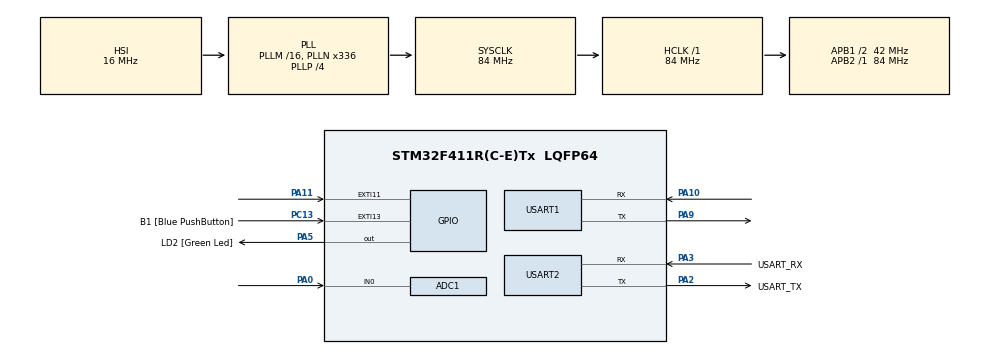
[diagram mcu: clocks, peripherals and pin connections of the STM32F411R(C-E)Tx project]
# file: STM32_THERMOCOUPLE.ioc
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ADC1.Channel-3\#ChannelRegularConversion=ADC_CHANNEL_0
ADC1.NbrOfConversionFlag=1
ADC1.Rank-3\#ChannelRegularConversion=1
ADC1.Resolution=ADC_RESOLUTION_12B
ADC1.SamplingTime-3\#ChannelRegularConversion=ADC_SAMPLETIME_3CYCLES
ADC1.master=1
Mcu.Family=STM32F4
Mcu.Name=STM32F411R(C-E)Tx
Mcu.Package=LQFP64
NVIC.EXTI15_10_IRQn=true\:0\:0\:false\:false\:true\:true\:true\:true
NVIC.PriorityGroup=NVIC_PRIORITYGROUP_0
PA0-WKUP.Signal=ADCx_IN0
PA10.Mode=Asynchronous
PA10.Signal=USART1_RX
PA11.GPIO_ModeDefaultEXTI=GPIO_MODE_IT_RISING
PA11.GPIO_PuPd=GPIO_PULLDOWN
PA11.Signal=GPXTI11
PA13.GPIO_Label=TMS
PA13.Mode=Serial_Wire
PA13.Signal=SYS_JTMS-SWDIO
PA14.GPIO_Label=TCK
PA14.Mode=Serial_Wire
PA14.Signal=SYS_JTCK-SWCLK
PA2.GPIO_Label=USART_TX
PA2.Mode=Asynchronous
PA2.Signal=USART2_TX
PA3.GPIO_Label=USART_RX
PA3.Mode=Asynchronous
PA3.Signal=USART2_RX
PA5.GPIO_Label=LD2 [Green Led]
PA5.Signal=GPIO_Output
PA9.Mode=Asynchronous
PA9.Signal=USART1_TX
PB3.GPIO_Label=SWO
PB3.Signal=SYS_JTDO-SWO
PC13-ANTI_TAMP.GPIO_Label=B1 [Blue PushButton]
PC13-ANTI_TAMP.GPIO_ModeDefaultEXTI=GPIO_MODE_IT_FALLING
PC13-ANTI_TAMP.Signal=GPXTI13
PC14-OSC32_IN.Mode=LSE-External-Oscillator
PC14-OSC32_IN.Signal=RCC_OSC32_IN
PC15-OSC32_OUT.Mode=LSE-External-Oscillator
PC15-OSC32_OUT.Signal=RCC_OSC32_OUT
PH0\ -\ OSC_IN.Mode=HSE-External-Clock-Source
PH0\ -\ OSC_IN.Signal=RCC_OSC_IN
PH1\ -\ OSC_OUT.Mode=HSE-External-Clock-Source
PH1\ -\ OSC_OUT.Signal=RCC_OSC_OUT
ProjectManager.HeapSize=0x200
ProjectManager.StackSize=0x400
ProjectManager.TargetToolchain=STM32CubeIDE
RCC.48MHZClocksFreq_Value=84000000
RCC.AHBFreq_Value=84000000
RCC.APB1CLKDivider=RCC_HCLK_DIV2
RCC.APB1Freq_Value=42000000
RCC.APB1TimFreq_Value=84000000
RCC.APB2Freq_Value=84000000
RCC.APB2TimFreq_Value=84000000
RCC.CortexFreq_Value=84000000
RCC.FLatency-AdvancedSettings=FLASH_LATENCY_2
RCC.HCLKFreq_Value=84000000
RCC.HSE_VALUE=8000000
RCC.HSI_VALUE=16000000
RCC.PLLN=336
RCC.PLLP=RCC_PLLP_DIV4
RCC.SYSCLKFreq_VALUE=84000000
RCC.SYSCLKSource=RCC_SYSCLKSOURCE_PLLCLK
RCC.VCOOutputFreq_Value=336000000
SH.ADCx_IN0.0=ADC1_IN0,IN0
TIM2.Prescaler=84-1
USART1.VirtualMode=VM_ASYNC
USART2.VirtualMode=VM_ASYNC
VP_TIM2_VS_ClockSourceINT.Mode=Internal
board=NUCLEO-F411RE

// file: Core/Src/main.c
/* USER CODE BEGIN Header */
/**
  ******************************************************************************
  * @file           : main.c
  * @brief          : Main program body
  ******************************************************************************
  * @attention
  *
  * Copyright (c) 2024 STMicroelectronics.
  * All rights reserved.
  *
  * This software is licensed under terms that can be found in the LICENSE file
  * in the root directory of this software component.
  * If no LICENSE file comes with this software, it is provided AS-IS.
  *
  ******************************************************************************
  */
/* USER CODE END Header */
#include "main.h"
#include <stdio.h>
#include <string.h>

/* USER CODE BEGIN PD */
uint32_t current_temp;
uint16_t thermoLog[LOG_SIZE] = {0};
uint32_t timeLog[LOG_SIZE] = {0};
uint32_t log_position = 0;
volatile uint8_t start = 0;
uint32_t timestamp;
volatile uint8_t complete = 0;
/* USER CODE END PD */

ADC_HandleTypeDef hadc1;

TIM_HandleTypeDef htim2;

UART_HandleTypeDef huart1;
UART_HandleTypeDef huart2;

void SystemClock_Config(void);
static void MX_GPIO_Init(void);
static void MX_USART2_UART_Init(void);
static void MX_ADC1_Init(void);
static void MX_USART1_UART_Init(void);
static void MX_TIM2_Init(void);

/* USER CODE BEGIN 0 */
void HAL_GPIO_EXTI_Callback(uint16_t GPIO_Pin)
  {
	start = 1;
  }
/* USER CODE END 0 */

int main(void)
{

  /* MCU Configuration--------------------------------------------------------*/

  /* Reset of all peripherals, Initializes the Flash interface and the Systick. */
  HAL_Init();

  /* Configure the system clock */
  SystemClock_Config();

  /* Initialize all configured peripherals */
  MX_GPIO_Init();
  MX_USART2_UART_Init();
  MX_ADC1_Init();
  MX_USART1_UART_Init();
  MX_TIM2_Init();
  /* USER CODE BEGIN 2 */
  HAL_TIM_Base_Start_IT(&htim2);
  /* USER CODE END 2 */

  /* Infinite loop */
  /* USER CODE BEGIN WHILE */

  void delay_us (uint16_t us)
  {
//  	__HAL_TIM_SET_COUNTER(&htim1,0);  // set the counter value a 0
  	while (__HAL_TIM_GET_COUNTER(&htim2)%us != 0);  // wait for the counter to reach the us input in the parameter
  }

  while (1)
  {
	  if(start == 1)
	  {
		__HAL_TIM_SET_COUNTER(&htim2,0);
		log_position = 0;
		while(log_position<LOG_SIZE)
		{
			timestamp = __HAL_TIM_GET_COUNTER(&htim2);
			HAL_ADC_Start(&hadc1);
			HAL_ADC_PollForConversion(&hadc1, HAL_MAX_DELAY);
			current_temp = HAL_ADC_GetValue(&hadc1);
			thermoLog[log_position] = current_temp;
			timeLog[log_position] = timestamp;
			log_position = log_position+1;
			delay_us(50);

		}
		HAL_ADC_Stop_IT(&hadc1);  // Stop ADC when logging is complete
		complete = 1;
	  }

	  if(complete == 1)
	  {

		for (uint32_t i = 0; i < LOG_SIZE; i++)
		{
			char msg[20];
			sprintf(msg, "%lu,%u\r\n", timeLog[i], thermoLog[i]);
			HAL_UART_Transmit(&huart2, (uint8_t*)msg, strlen(msg), HAL_MAX_DELAY);
		}
		char msg[] = "\ncomplete";
		uint16_t msgLen = strlen(msg); // Calculate message length
		HAL_UART_Transmit(&huart2, (uint8_t*)msg, msgLen, HAL_MAX_DELAY);
		complete = 0;
		start = 0;
	  }

//	  HAL_ADC_Start(&hadc1);
//	  HAL_ADC_PollForConversion(&hadc1, HAL_MAX_DELAY);
//	  current_temp = HAL_ADC_GetValue(&hadc1);
//	  char msg[10];
//	  sprintf(msg, "%u\r\n", current_temp);  // Print with carriage return
//	  HAL_UART_Transmit(&huart2, (uint8_t*)msg, strlen(msg), HAL_MAX_DELAY);
//	  HAL_Delay(500);

    /* USER CODE END WHILE */

  }
}

void SystemClock_Config(void)
{
  RCC_OscInitTypeDef RCC_OscInitStruct = {0};
  RCC_ClkInitTypeDef RCC_ClkInitStruct = {0};

  /** Configure the main internal regulator output voltage
  */
  __HAL_RCC_PWR_CLK_ENABLE();
  __HAL_PWR_VOLTAGESCALING_CONFIG(PWR_REGULATOR_VOLTAGE_SCALE1);

  /** Initializes the RCC Oscillators according to the specified parameters
  * in the RCC_OscInitTypeDef structure.
  */
  RCC_OscInitStruct.OscillatorType = RCC_OSCILLATORTYPE_HSI;
  RCC_OscInitStruct.HSIState = RCC_HSI_ON;
  RCC_OscInitStruct.HSICalibrationValue = RCC_HSICALIBRATION_DEFAULT;
  RCC_OscInitStruct.PLL.PLLState = RCC_PLL_ON;
  RCC_OscInitStruct.PLL.PLLSource = RCC_PLLSOURCE_HSI;
  RCC_OscInitStruct.PLL.PLLM = 16;
  RCC_OscInitStruct.PLL.PLLN = 336;
  RCC_OscInitStruct.PLL.PLLP = RCC_PLLP_DIV4;
  RCC_OscInitStruct.PLL.PLLQ = 4;
  if (HAL_RCC_OscConfig(&RCC_OscInitStruct) != HAL_OK)
  {
    Error_Handler();
  }

  /** Initializes the CPU, AHB and APB buses clocks
  */
  RCC_ClkInitStruct.ClockType = RCC_CLOCKTYPE_HCLK|RCC_CLOCKTYPE_SYSCLK
                              |RCC_CLOCKTYPE_PCLK1|RCC_CLOCKTYPE_PCLK2;
  RCC_ClkInitStruct.SYSCLKSource = RCC_SYSCLKSOURCE_PLLCLK;
  RCC_ClkInitStruct.AHBCLKDivider = RCC_SYSCLK_DIV1;
  RCC_ClkInitStruct.APB1CLKDivider = RCC_HCLK_DIV2;
  RCC_ClkInitStruct.APB2CLKDivider = RCC_HCLK_DIV1;

  if (HAL_RCC_ClockConfig(&RCC_ClkInitStruct, FLASH_LATENCY_2) != HAL_OK)
  {
    Error_Handler();
  }
}

static void MX_ADC1_Init(void)
{

  ADC_ChannelConfTypeDef sConfig = {0};

  /** Configure the global features of the ADC (Clock, Resolution, Data Alignment and number of conversion)
  */
  hadc1.Instance = ADC1;
  hadc1.Init.ClockPrescaler = ADC_CLOCK_SYNC_PCLK_DIV4;
  hadc1.Init.Resolution = ADC_RESOLUTION_12B;
  hadc1.Init.ScanConvMode = DISABLE;
  hadc1.Init.ContinuousConvMode = DISABLE;
  hadc1.Init.DiscontinuousConvMode = DISABLE;
  hadc1.Init.ExternalTrigConvEdge = ADC_EXTERNALTRIGCONVEDGE_NONE;
  hadc1.Init.ExternalTrigConv = ADC_SOFTWARE_START;
  hadc1.Init.DataAlign = ADC_DATAALIGN_RIGHT;
  hadc1.Init.NbrOfConversion = 1;
  hadc1.Init.DMAContinuousRequests = DISABLE;
  hadc1.Init.EOCSelection = ADC_EOC_SINGLE_CONV;
  if (HAL_ADC_Init(&hadc1) != HAL_OK)
  {
    Error_Handler();
  }

  /** Configure for the selected ADC regular channel its corresponding rank in the sequencer and its sample time.
  */
  sConfig.Channel = ADC_CHANNEL_0;
  sConfig.Rank = 1;
  sConfig.SamplingTime = ADC_SAMPLETIME_3CYCLES;
  if (HAL_ADC_ConfigChannel(&hadc1, &sConfig) != HAL_OK)
  {
    Error_Handler();
  }

}

static void MX_TIM2_Init(void)
{

  TIM_ClockConfigTypeDef sClockSourceConfig = {0};
  TIM_MasterConfigTypeDef sMasterConfig = {0};

  htim2.Instance = TIM2;
  htim2.Init.Prescaler = 84-1;
  htim2.Init.CounterMode = TIM_COUNTERMODE_UP;
  htim2.Init.Period = 4294967295;
  htim2.Init.ClockDivision = TIM_CLOCKDIVISION_DIV1;
  htim2.Init.AutoReloadPreload = TIM_AUTORELOAD_PRELOAD_DISABLE;
  if (HAL_TIM_Base_Init(&htim2) != HAL_OK)
  {
    Error_Handler();
  }
  sClockSourceConfig.ClockSource = TIM_CLOCKSOURCE_INTERNAL;
  if (HAL_TIM_ConfigClockSource(&htim2, &sClockSourceConfig) != HAL_OK)
  {
    Error_Handler();
  }
  sMasterConfig.MasterOutputTrigger = TIM_TRGO_RESET;
  sMasterConfig.MasterSlaveMode = TIM_MASTERSLAVEMODE_DISABLE;
  if (HAL_TIMEx_MasterConfigSynchronization(&htim2, &sMasterConfig) != HAL_OK)
  {
    Error_Handler();
  }

}

static void MX_USART1_UART_Init(void)
{

  huart1.Instance = USART1;
  huart1.Init.BaudRate = 115200;
  huart1.Init.WordLength = UART_WORDLENGTH_8B;
  huart1.Init.StopBits = UART_STOPBITS_1;
  huart1.Init.Parity = UART_PARITY_NONE;
  huart1.Init.Mode = UART_MODE_TX_RX;
  huart1.Init.HwFlowCtl = UART_HWCONTROL_NONE;
  huart1.Init.OverSampling = UART_OVERSAMPLING_16;
  if (HAL_UART_Init(&huart1) != HAL_OK)
  {
    Error_Handler();
  }

}

static void MX_USART2_UART_Init(void)
{

  huart2.Instance = USART2;
  huart2.Init.BaudRate = 115200;
  huart2.Init.WordLength = UART_WORDLENGTH_8B;
  huart2.Init.StopBits = UART_STOPBITS_1;
  huart2.Init.Parity = UART_PARITY_NONE;
  huart2.Init.Mode = UART_MODE_TX_RX;
  huart2.Init.HwFlowCtl = UART_HWCONTROL_NONE;
  huart2.Init.OverSampling = UART_OVERSAMPLING_16;
  if (HAL_UART_Init(&huart2) != HAL_OK)
  {
    Error_Handler();
  }

}

static void MX_GPIO_Init(void)
{
  GPIO_InitTypeDef GPIO_InitStruct = {0};

  /* GPIO Ports Clock Enable */
  __HAL_RCC_GPIOC_CLK_ENABLE();
  __HAL_RCC_GPIOH_CLK_ENABLE();
  __HAL_RCC_GPIOA_CLK_ENABLE();
  __HAL_RCC_GPIOB_CLK_ENABLE();

  /*Configure GPIO pin Output Level */
  HAL_GPIO_WritePin(LD2_GPIO_Port, LD2_Pin, GPIO_PIN_RESET);

  /*Configure GPIO pin : B1_Pin */
  GPIO_InitStruct.Pin = B1_Pin;
  GPIO_InitStruct.Mode = GPIO_MODE_IT_FALLING;
  GPIO_InitStruct.Pull = GPIO_NOPULL;
  HAL_GPIO_Init(B1_GPIO_Port, &GPIO_InitStruct);

  /*Configure GPIO pin : LD2_Pin */
  GPIO_InitStruct.Pin = LD2_Pin;
  GPIO_InitStruct.Mode = GPIO_MODE_OUTPUT_PP;
  GPIO_InitStruct.Pull = GPIO_NOPULL;
  GPIO_InitStruct.Speed = GPIO_SPEED_FREQ_LOW;
  HAL_GPIO_Init(LD2_GPIO_Port, &GPIO_InitStruct);

  /*Configure GPIO pin : PA11 */
  GPIO_InitStruct.Pin = GPIO_PIN_11;
  GPIO_InitStruct.Mode = GPIO_MODE_IT_RISING;
  GPIO_InitStruct.Pull = GPIO_PULLDOWN;
  HAL_GPIO_Init(GPIOA, &GPIO_InitStruct);

  /* EXTI interrupt init*/
  HAL_NVIC_SetPriority(EXTI15_10_IRQn, 0, 0);
  HAL_NVIC_EnableIRQ(EXTI15_10_IRQn);

}

void Error_Handler(void)
{
  __disable_irq();
  while (1)
  {
  }
}
